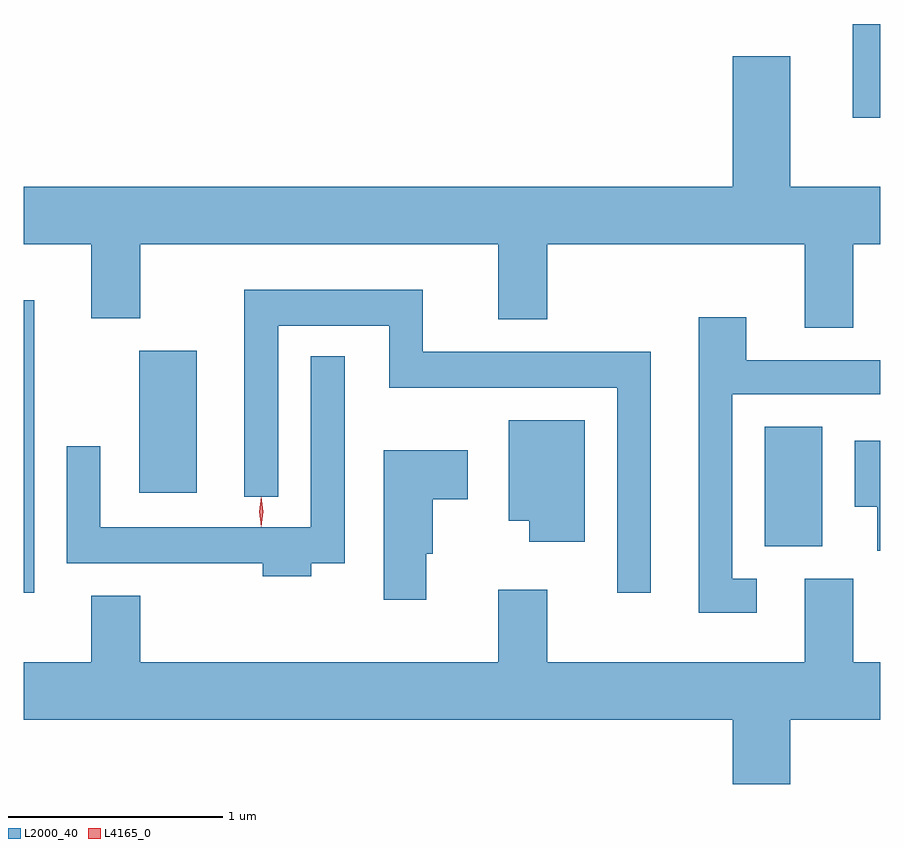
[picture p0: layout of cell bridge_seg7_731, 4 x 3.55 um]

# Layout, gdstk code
import gdstk
lib = gdstk.Library(unit=1e-6, precision=1e-09)
def R(c, l, rs):  # rectangles x0, y0, x1, y1
    for r in rs: c.add(gdstk.rectangle(r[:2], r[2:], *l))
def P(c, l, *ps):  # polygons
    for p in ps: c.add(gdstk.Polygon(p, *l))
L2000_40 = (2000, 40)
L4165_0 = (4165, 0)

bridge_seg7_731 = lib.new_cell('bridge_seg7_731')
R(bridge_seg7_731, L2000_40, [(591.385,1743.768,591.434,1745.134), (594.846,1743.986,595.114,1744.544), (591.926,1744.236,592.194,1744.899), (595.256,1745.986,595.385,1746.424)])
P(bridge_seg7_731, L2000_40, [(595.259,1745.396),(595.385,1745.396),(595.385,1745.664),(594.964,1745.664),(594.964,1746.274),(594.696,1746.274),(594.696,1745.664),(591.385,1745.664),(591.385,1745.396),(591.701,1745.396),(591.701,1745.051),(591.929,1745.051),(591.929,1745.396),(593.601,1745.396),(593.601,1745.046),(593.829,1745.046),(593.829,1745.396),(595.031,1745.396),(595.031,1745.006),(595.259,1745.006)],
  [(594.314,1744.894),(593.249,1744.894),(593.249,1745.184),(592.416,1745.184),(592.416,1744.218),(592.574,1744.218),(592.574,1745.016),(593.091,1745.016),(593.091,1744.726),(594.156,1744.726),(594.156,1743.768),(594.314,1743.768)],
  [(594.808,1743.834),(594.694,1743.834),(594.694,1744.696),(595.385,1744.696),(595.385,1744.854),(594.759,1744.854),(594.759,1745.054),(594.536,1745.054),(594.536,1743.676),(594.808,1743.676)],
  [(592.729,1743.906),(592.884,1743.906),(592.884,1744.873),(592.726,1744.873),(592.726,1744.074),(591.744,1744.074),(591.744,1744.453),(591.586,1744.453),(591.586,1743.906),(592.501,1743.906),(592.501,1743.846),(592.729,1743.846)],
  [(594.004,1744.574),(593.651,1744.574),(593.651,1744.106),(593.746,1744.106),(593.746,1744.006),(594.004,1744.006)],
  [(595.385,1744.479),(595.266,1744.479),(595.266,1744.171),(595.371,1744.171),(595.371,1743.966),(595.385,1743.966)],
  [(593.264,1743.951),(593.294,1743.951),(593.294,1744.206),(593.459,1744.206),(593.459,1744.434),(593.066,1744.434),(593.066,1743.736),(593.264,1743.736)],
  [(594.964,1743.176),(595.385,1743.176),(595.385,1743.444),(595.259,1743.444),(595.259,1743.834),(595.031,1743.834),(595.031,1743.444),(593.829,1743.444),(593.829,1743.784),(593.601,1743.784),(593.601,1743.444),(591.929,1743.444),(591.929,1743.754),(591.701,1743.754),(591.701,1743.444),(591.385,1743.444),(591.385,1743.176),(594.696,1743.176),(594.696,1742.876),(594.964,1742.876)])
P(bridge_seg7_731, L4165_0, [(592.494,1744.077),(592.485,1744.146),(592.494,1744.216),(592.495,1744.216),(592.495,1744.216),(592.505,1744.146),(592.495,1744.077),(592.495,1744.077)],
  [(592.495,1744.079),(592.494,1744.08),(592.485,1744.146),(592.494,1744.212),(592.495,1744.213),(592.495,1744.212),(592.505,1744.146),(592.495,1744.08)])

lib.write_gds('bridge_seg7_731.gds')
